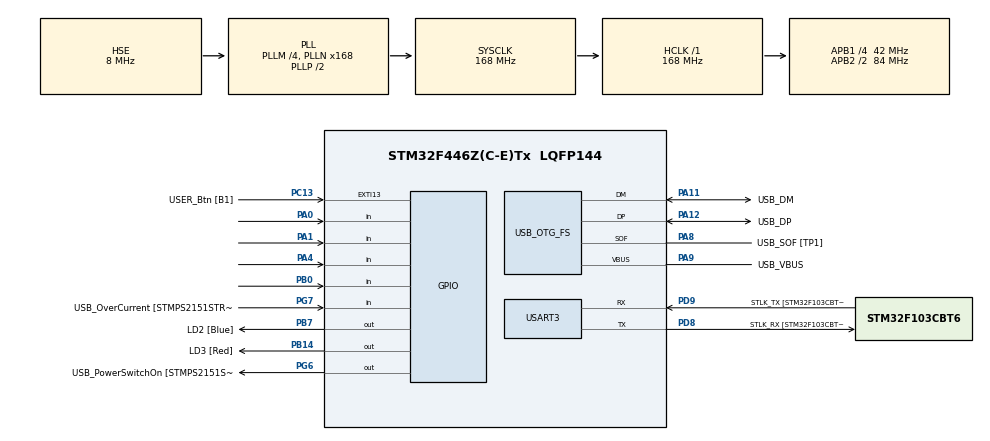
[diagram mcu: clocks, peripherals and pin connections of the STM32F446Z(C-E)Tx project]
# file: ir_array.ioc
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Mcu.Family=STM32F4
Mcu.Name=STM32F446Z(C-E)Tx
Mcu.Package=LQFP144
NVIC.PriorityGroup=NVIC_PRIORITYGROUP_4
PA0-WKUP.Signal=GPIO_Input
PA1.Signal=GPIO_Input
PA10.GPIO_Label=USB_ID
PA10.Signal=USB_OTG_FS_ID
PA11.GPIO_Label=USB_DM
PA11.Mode=Device_Only
PA11.Signal=USB_OTG_FS_DM
PA12.GPIO_Label=USB_DP
PA12.Mode=Device_Only
PA12.Signal=USB_OTG_FS_DP
PA13.GPIO_Label=TMS
PA13.Mode=Serial_Wire
PA13.Signal=SYS_JTMS-SWDIO
PA14.GPIO_Label=TCK
PA14.Mode=Serial_Wire
PA14.Signal=SYS_JTCK-SWCLK
PA4.Signal=GPIO_Input
PA8.GPIO_Label=USB_SOF [TP1]
PA8.Mode=Activate_SOF_FS
PA8.Signal=USB_OTG_FS_SOF
PA9.GPIO_Label=USB_VBUS
PA9.Mode=Activate_VBUS
PA9.Signal=USB_OTG_FS_VBUS
PB0.Signal=GPIO_Input
PB14.GPIO_Label=LD3 [Red]
PB14.Signal=GPIO_Output
PB7.GPIO_Label=LD2 [Blue]
PB7.Signal=GPIO_Output
PC13.GPIO_Label=USER_Btn [B1]
PC13.Signal=GPXTI13
PC14-OSC32_IN.Mode=LSE-External-Oscillator
PC14-OSC32_IN.Signal=RCC_OSC32_IN
PC15-OSC32_OUT.Mode=LSE-External-Oscillator
PC15-OSC32_OUT.Signal=RCC_OSC32_OUT
PD8.GPIO_Label=STLK_RX [STM32F103CBT6_PA3]
PD8.Mode=Asynchronous
PD8.Signal=USART3_TX
PD9.GPIO_Label=STLK_TX [STM32F103CBT6_PA2]
PD9.Mode=Asynchronous
PD9.Signal=USART3_RX
PG6.GPIO_Label=USB_PowerSwitchOn [STMPS2151STR_EN]
PG6.Signal=GPIO_Output
PG7.GPIO_Label=USB_OverCurrent [STMPS2151STR_FAULT]
PG7.Signal=GPIO_Input
PH0-OSC_IN.GPIO_Label=MCO [STM32F103CBT6_PA8]
PH0-OSC_IN.Mode=HSE-External-Clock-Source
PH0-OSC_IN.Signal=RCC_OSC_IN
PH1-OSC_OUT.Mode=HSE-External-Clock-Source
PH1-OSC_OUT.Signal=RCC_OSC_OUT
ProjectManager.HeapSize=0x200
ProjectManager.StackSize=0x400
ProjectManager.TargetToolchain=STM32CubeIDE
RCC.48MHZClocksFreq_Value=24000000
RCC.AHBFreq_Value=168000000
RCC.APB1CLKDivider=RCC_HCLK_DIV4
RCC.APB1Freq_Value=42000000
RCC.APB1TimFreq_Value=84000000
RCC.APB2CLKDivider=RCC_HCLK_DIV2
RCC.APB2Freq_Value=84000000
RCC.APB2TimFreq_Value=168000000
RCC.CortexFreq_Value=168000000
RCC.HCLKFreq_Value=168000000
RCC.HSE_VALUE=8000000
RCC.HSI_VALUE=16000000
RCC.PLLM=4
RCC.PLLMUL=RCC_PLL_MUL9
RCC.PLLN=168
RCC.PLLQ=7
RCC.PRESCALERUSB=RCC_USBCLKSOURCE_PLL_DIV1_5
RCC.SYSCLKFreq_VALUE=168000000
RCC.SYSCLKSource=RCC_SYSCLKSOURCE_PLLCLK
RCC.SYSCLKSourceVirtual=RCC_SYSCLKSOURCE_PLLCLK
RCC.USBFreq_Value=48000000
RCC.VCOOutputFreq_Value=336000000
USART3.VirtualMode=VM_ASYNC
USB_OTG_FS.VirtualMode=Device_Only
board=NUCLEO-F446ZE

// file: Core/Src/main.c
/* USER CODE BEGIN Header */
/**
  ******************************************************************************
  * @file           : main.c
  * @brief          : Main program body
  ******************************************************************************
  * @attention
  *
  * Copyright (c) 2025 STMicroelectronics.
  * All rights reserved.
  *
  * This software is licensed under terms that can be found in the LICENSE file
  * in the root directory of this software component.
  * If no LICENSE file comes with this software, it is provided AS-IS.
  *
  ******************************************************************************
  */
/* USER CODE END Header */
#include "main.h"

/* USER CODE BEGIN Includes */
#include <stdio.h>
#include "ir.h"

/* USER CODE END Includes */

UART_HandleTypeDef huart3;

PCD_HandleTypeDef hpcd_USB_OTG_FS;

void SystemClock_Config(void);
static void MX_GPIO_Init(void);
static void MX_USART3_UART_Init(void);
static void MX_USB_OTG_FS_PCD_Init(void);

/* USER CODE BEGIN 0 */
int __io_putchar(int ch)
{
    HAL_UART_Transmit(&huart3, (uint8_t *)&ch, 1, HAL_MAX_DELAY);
    return ch;
}

int _write(int file, char *ptr, int len)
{
    HAL_UART_Transmit(&huart3, (uint8_t *)ptr, len, HAL_MAX_DELAY);
    return len;
}
/* USER CODE END 0 */

/* USER CODE END 0 */

int main(void)
{

  /* MCU Configuration--------------------------------------------------------*/

  /* Reset of all peripherals, Initializes the Flash interface and the Systick. */
  HAL_Init();

  /* Configure the system clock */
  SystemClock_Config();

  /* Initialize all configured peripherals */
  MX_GPIO_Init();
  MX_USART3_UART_Init();
  MX_USB_OTG_FS_PCD_Init();
  /* USER CODE BEGIN 2 */
  IR_Array_T ir_data;

  /* USER CODE END 2 */

  /* Infinite loop */
  /* USER CODE BEGIN WHILE */
  while (1)
  {
	  IR_Array_Read(&ir_data);
	  for (int i = 0; i < IR_COUNT; i++)
	     {
	         printf("%d",ir_data.state[i]);
	     }
	  printf("\n");
		  uint8_t pattern = IR_Array_GetPattern(&ir_data);
		  printf("%c\n",pattern);
		  HAL_Delay(10000);

		/* USER CODE END WHILE */

  }
}

void SystemClock_Config(void)
{
  RCC_OscInitTypeDef RCC_OscInitStruct = {0};
  RCC_ClkInitTypeDef RCC_ClkInitStruct = {0};

  /** Configure the main internal regulator output voltage
  */
  __HAL_RCC_PWR_CLK_ENABLE();
  __HAL_PWR_VOLTAGESCALING_CONFIG(PWR_REGULATOR_VOLTAGE_SCALE1);

  /** Initializes the RCC Oscillators according to the specified parameters
  * in the RCC_OscInitTypeDef structure.
  */
  RCC_OscInitStruct.OscillatorType = RCC_OSCILLATORTYPE_HSE;
  RCC_OscInitStruct.HSEState = RCC_HSE_BYPASS;
  RCC_OscInitStruct.PLL.PLLState = RCC_PLL_ON;
  RCC_OscInitStruct.PLL.PLLSource = RCC_PLLSOURCE_HSE;
  RCC_OscInitStruct.PLL.PLLM = 4;
  RCC_OscInitStruct.PLL.PLLN = 168;
  RCC_OscInitStruct.PLL.PLLP = RCC_PLLP_DIV2;
  RCC_OscInitStruct.PLL.PLLQ = 7;
  RCC_OscInitStruct.PLL.PLLR = 2;
  if (HAL_RCC_OscConfig(&RCC_OscInitStruct) != HAL_OK)
  {
    Error_Handler();
  }

  /** Initializes the CPU, AHB and APB buses clocks
  */
  RCC_ClkInitStruct.ClockType = RCC_CLOCKTYPE_HCLK|RCC_CLOCKTYPE_SYSCLK
                              |RCC_CLOCKTYPE_PCLK1|RCC_CLOCKTYPE_PCLK2;
  RCC_ClkInitStruct.SYSCLKSource = RCC_SYSCLKSOURCE_PLLCLK;
  RCC_ClkInitStruct.AHBCLKDivider = RCC_SYSCLK_DIV1;
  RCC_ClkInitStruct.APB1CLKDivider = RCC_HCLK_DIV4;
  RCC_ClkInitStruct.APB2CLKDivider = RCC_HCLK_DIV2;

  if (HAL_RCC_ClockConfig(&RCC_ClkInitStruct, FLASH_LATENCY_5) != HAL_OK)
  {
    Error_Handler();
  }
}

static void MX_USART3_UART_Init(void)
{

  huart3.Instance = USART3;
  huart3.Init.BaudRate = 115200;
  huart3.Init.WordLength = UART_WORDLENGTH_8B;
  huart3.Init.StopBits = UART_STOPBITS_1;
  huart3.Init.Parity = UART_PARITY_NONE;
  huart3.Init.Mode = UART_MODE_TX_RX;
  huart3.Init.HwFlowCtl = UART_HWCONTROL_NONE;
  huart3.Init.OverSampling = UART_OVERSAMPLING_16;
  if (HAL_UART_Init(&huart3) != HAL_OK)
  {
    Error_Handler();
  }

}

static void MX_USB_OTG_FS_PCD_Init(void)
{

  hpcd_USB_OTG_FS.Instance = USB_OTG_FS;
  hpcd_USB_OTG_FS.Init.dev_endpoints = 6;
  hpcd_USB_OTG_FS.Init.speed = PCD_SPEED_FULL;
  hpcd_USB_OTG_FS.Init.dma_enable = DISABLE;
  hpcd_USB_OTG_FS.Init.phy_itface = PCD_PHY_EMBEDDED;
  hpcd_USB_OTG_FS.Init.Sof_enable = ENABLE;
  hpcd_USB_OTG_FS.Init.low_power_enable = DISABLE;
  hpcd_USB_OTG_FS.Init.lpm_enable = DISABLE;
  hpcd_USB_OTG_FS.Init.vbus_sensing_enable = ENABLE;
  hpcd_USB_OTG_FS.Init.use_dedicated_ep1 = DISABLE;
  if (HAL_PCD_Init(&hpcd_USB_OTG_FS) != HAL_OK)
  {
    Error_Handler();
  }

}

static void MX_GPIO_Init(void)
{
  GPIO_InitTypeDef GPIO_InitStruct = {0};

  /* GPIO Ports Clock Enable */
  __HAL_RCC_GPIOC_CLK_ENABLE();
  __HAL_RCC_GPIOH_CLK_ENABLE();
  __HAL_RCC_GPIOA_CLK_ENABLE();
  __HAL_RCC_GPIOB_CLK_ENABLE();
  __HAL_RCC_GPIOD_CLK_ENABLE();
  __HAL_RCC_GPIOG_CLK_ENABLE();

  /*Configure GPIO pin Output Level */
  HAL_GPIO_WritePin(GPIOB, LD3_Pin|LD2_Pin, GPIO_PIN_RESET);

  /*Configure GPIO pin Output Level */
  HAL_GPIO_WritePin(USB_PowerSwitchOn_GPIO_Port, USB_PowerSwitchOn_Pin, GPIO_PIN_RESET);

  /*Configure GPIO pin : USER_Btn_Pin */
  GPIO_InitStruct.Pin = USER_Btn_Pin;
  GPIO_InitStruct.Mode = GPIO_MODE_IT_RISING;
  GPIO_InitStruct.Pull = GPIO_NOPULL;
  HAL_GPIO_Init(USER_Btn_GPIO_Port, &GPIO_InitStruct);

  /*Configure GPIO pins : PA0 PA1 PA4 */
  GPIO_InitStruct.Pin = GPIO_PIN_0|GPIO_PIN_1|GPIO_PIN_4;
  GPIO_InitStruct.Mode = GPIO_MODE_INPUT;
  GPIO_InitStruct.Pull = GPIO_NOPULL;
  HAL_GPIO_Init(GPIOA, &GPIO_InitStruct);

  /*Configure GPIO pin : PB0 */
  GPIO_InitStruct.Pin = GPIO_PIN_0;
  GPIO_InitStruct.Mode = GPIO_MODE_INPUT;
  GPIO_InitStruct.Pull = GPIO_NOPULL;
  HAL_GPIO_Init(GPIOB, &GPIO_InitStruct);

  /*Configure GPIO pins : LD3_Pin LD2_Pin */
  GPIO_InitStruct.Pin = LD3_Pin|LD2_Pin;
  GPIO_InitStruct.Mode = GPIO_MODE_OUTPUT_PP;
  GPIO_InitStruct.Pull = GPIO_NOPULL;
  GPIO_InitStruct.Speed = GPIO_SPEED_FREQ_LOW;
  HAL_GPIO_Init(GPIOB, &GPIO_InitStruct);

  /*Configure GPIO pin : USB_PowerSwitchOn_Pin */
  GPIO_InitStruct.Pin = USB_PowerSwitchOn_Pin;
  GPIO_InitStruct.Mode = GPIO_MODE_OUTPUT_PP;
  GPIO_InitStruct.Pull = GPIO_NOPULL;
  GPIO_InitStruct.Speed = GPIO_SPEED_FREQ_LOW;
  HAL_GPIO_Init(USB_PowerSwitchOn_GPIO_Port, &GPIO_InitStruct);

  /*Configure GPIO pin : USB_OverCurrent_Pin */
  GPIO_InitStruct.Pin = USB_OverCurrent_Pin;
  GPIO_InitStruct.Mode = GPIO_MODE_INPUT;
  GPIO_InitStruct.Pull = GPIO_NOPULL;
  HAL_GPIO_Init(USB_OverCurrent_GPIO_Port, &GPIO_InitStruct);

}

void Error_Handler(void)
{
  __disable_irq();
  while (1)
  {
  }
}
